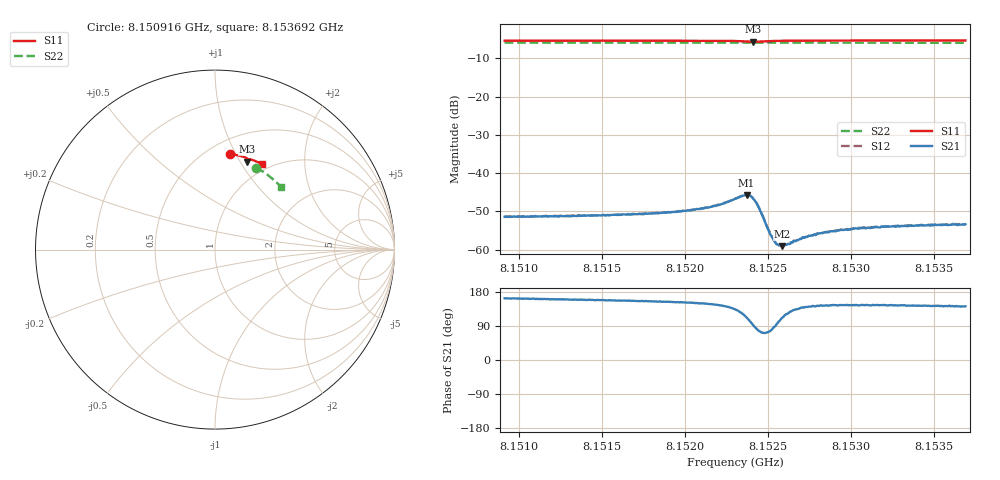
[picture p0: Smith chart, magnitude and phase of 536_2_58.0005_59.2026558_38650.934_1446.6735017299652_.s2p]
#  HZ  S  RI  R  50.00
! Rohde & Schwarz Vector Network Analyzer
! Rohde-Schwarz,ZNB20-2Port,1311601062101988,3.16
! Created: UTC 3/21/2024, 1:14:18 AM
! freq[Hz]  re:S11  im:S11  re:S21  im:S21  re:S12  im:S12  re:S22  im:S22
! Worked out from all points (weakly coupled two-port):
!   401 points, 8.150916 GHz to 8.153692 GHz, reference 50 ohm
!   highest |S21| = -45.72 dB at 8.152373 GHz (marker M1); lowest = -59.1 dB at 8.152589 GHz (marker M2)
!   lowest |S11| = -5.6 dB at 8.152415 GHz (marker M3), VSWR 3.19, Z = 39.7 + j53.6 ohm
!   |S11| at or under -10 dB: nowhere
!   |S22| runs from -5.9 to -5.8 dB; largest |S21 - S12| = 0.0001
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8.1509161e9  0.0852 0.5325  -0.00257 0.000792  -0.00261 0.000817  0.2296 0.456
8.1513811e9  0.1175 0.5271  -0.0026 0.000986  -0.00259 0.00105  0.2555 0.4414
8.151846e9  0.1498 0.5194  -0.00271 0.00132  -0.00271 0.00136  0.2805 0.4251
8.1520265e9  0.1629 0.5152  -0.00287 0.00156  -0.00285 0.0016  0.29 0.4184
8.1521306e9  0.1708 0.5122  -0.00303 0.00185  -0.00299 0.00187  0.2953 0.4145
8.1522138e9  0.1776 0.5089  -0.00315 0.00227  -0.00316 0.00234  0.2996 0.4113
8.1523041e9  0.1847 0.5021  -0.0032 0.00333  -0.00315 0.00339  0.3041 0.4075
8.1523735e9  0.1849 0.4926  -0.00197 0.00479  -0.00193 0.00485  0.3071 0.4046
8.1523943e9  0.1822 0.4907  -0.00107 0.00496  -0.00102 0.00499  0.3081 0.4038
8.1524151e9  0.1785 0.4906  -0.000106 0.00462  -4.61e-05 0.00467  0.3089 0.403
8.1524498e9  0.1753 0.495  0.000836 0.00337  0.000856 0.00338  0.3105 0.4019
8.1525053e9  0.1789 0.5018  0.000499 0.00174  0.000542 0.00175  0.3134 0.3999
8.15254e9  0.1828 0.5036  5.79e-05 0.00131  9.09e-05 0.0013  0.3153 0.3986
8.1525678e9  0.1858 0.5042  -0.00023 0.00112  -0.000219 0.00113  0.3166 0.3974
8.1525886e9  0.1878 0.5042  -0.000409 0.00103  -0.000364 0.0011  0.3176 0.3967
8.1526163e9  0.1906 0.5041  -0.000607 0.001  -0.000603 0.00101  0.3192 0.3956
8.1527066e9  0.1987 0.5028  -0.00104 0.000941  -0.00103 0.000993  0.3236 0.3918
8.152769e9  0.2035 0.5012  -0.00122 0.000944  -0.0012 0.000964  0.3266 0.3892
8.1528939e9  0.2125 0.4982  -0.00143 0.00099  -0.00146 0.00103  0.3325 0.384
8.1530258e9  0.2216 0.4947  -0.00154 0.00111  -0.00154 0.00109  0.3387 0.3782
8.153234e9  0.2353 0.4889  -0.00164 0.00116  -0.00166 0.00122  0.3483 0.3693
8.153692e9  0.2641 0.4748  -0.00169 0.00134  -0.00166 0.00136  0.3682 0.3481
